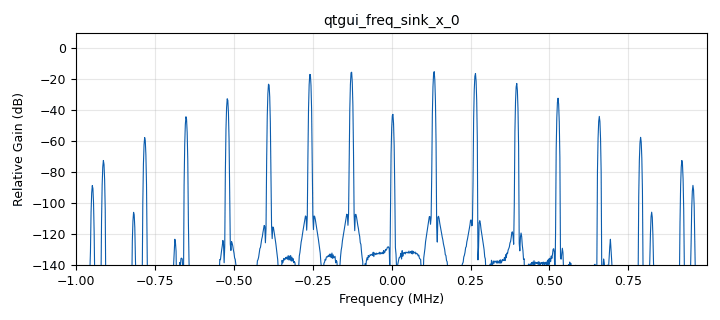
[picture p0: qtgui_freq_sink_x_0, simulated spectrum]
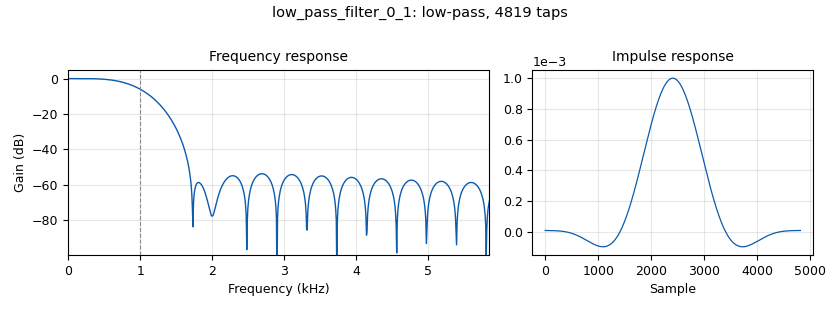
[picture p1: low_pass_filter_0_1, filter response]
<?xml version='1.0' encoding='utf-8'?>
<?grc format='1' created='3.7.13'?>
<flow_graph>
<block>
<key>options</key>
<param><key>id</key><value>top_block</value></param>
<param><key>generate_options</key><value>qt_gui</value></param>
</block>
<block>
<key>variable</key>
<param><key>id</key><value>decim</value></param>
<param><key>value</key><value>1024</value></param>
</block>
<block>
<key>variable_qtgui_range</key>
<param><key>id</key><value>f1</value></param>
<param><key>value</key><value>131001</value></param>
<param><key>orient</key><value>Qt.Horizontal</value></param>
<param><key>start</key><value>1</value></param>
<param><key>step</key><value>1000</value></param>
<param><key>stop</key><value>10000000</value></param>
</block>
<block>
<key>variable</key>
<param><key>id</key><value>fft_size</value></param>
<param><key>value</key><value>512</value></param>
</block>
<block>
<key>variable_qtgui_range</key>
<param><key>id</key><value>gain</value></param>
<param><key>value</key><value>62</value></param>
<param><key>label</key><value>Q</value></param>
<param><key>orient</key><value>Qt.Horizontal</value></param>
<param><key>start</key><value>0</value></param>
<param><key>step</key><value>1</value></param>
<param><key>stop</key><value>70</value></param>
</block>
<block>
<key>variable_qtgui_range</key>
<param><key>id</key><value>lo</value></param>
<param><key>value</key><value>2033000000</value></param>
<param><key>label</key><value>lo freq</value></param>
<param><key>orient</key><value>Qt.Horizontal</value></param>
<param><key>start</key><value>10000000</value></param>
<param><key>step</key><value>100000</value></param>
<param><key>stop</key><value>6000000000</value></param>
</block>
<block>
<key>variable_qtgui_range</key>
<param><key>id</key><value>noi</value></param>
<param><key>value</key><value>0</value></param>
<param><key>label</key><value>noi</value></param>
<param><key>min_len</key><value>2000</value></param>
<param><key>orient</key><value>Qt.Horizontal</value></param>
<param><key>start</key><value>0</value></param>
<param><key>step</key><value>1</value></param>
<param><key>stop</key><value>2000</value></param>
<param><key>rangeType</key><value>int</value></param>
</block>
<block>
<key>variable_qtgui_range</key>
<param><key>id</key><value>q</value></param>
<param><key>value</key><value>10000</value></param>
<param><key>label</key><value>Q</value></param>
<param><key>orient</key><value>Qt.Horizontal</value></param>
<param><key>start</key><value>10000</value></param>
<param><key>step</key><value>1</value></param>
<param><key>stop</key><value>10000000</value></param>
</block>
<block>
<key>variable</key>
<param><key>id</key><value>samp_rate</value></param>
<param><key>value</key><value>2000000</value></param>
</block>
<block>
<key>analog_agc_xx</key>
<param><key>id</key><value>analog_agc_xx_0</value></param>
<param><key>gain</key><value>1.0</value></param>
<param><key>max_gain</key><value>65536</value></param>
<param><key>rate</key><value>1e-4</value></param>
<param><key>reference</key><value>1.0</value></param>
<param><key>type</key><value>complex</value></param>
</block>
<block>
<key>analog_agc_xx</key>
<param><key>id</key><value>analog_agc_xx_0_0</value></param>
<param><key>gain</key><value>1.0</value></param>
<param><key>max_gain</key><value>65536</value></param>
<param><key>rate</key><value>1e-4</value></param>
<param><key>reference</key><value>1.0</value></param>
<param><key>type</key><value>complex</value></param>
</block>
<block>
<key>analog_sig_source_x</key>
<param><key>id</key><value>analog_sig_source_x_0_0</value></param>
<param><key>amp</key><value>1</value></param>
<param><key>freq</key><value>f1</value></param>
<param><key>offset</key><value>0.01</value></param>
<param><key>type</key><value>float</value></param>
<param><key>samp_rate</key><value>samp_rate</value></param>
<param><key>waveform</key><value>analog.GR_COS_WAVE</value></param>
</block>
<block>
<key>blocks_complex_to_mag</key>
<param><key>id</key><value>blocks_complex_to_mag_0_0</value></param>
<param><key>_enabled</key><value>0</value></param>
<param><key>vlen</key><value>fft_size</value></param>
</block>
<block>
<key>blocks_complex_to_magphase</key>
<param><key>id</key><value>blocks_complex_to_magphase_0</value></param>
</block>
<block>
<key>blocks_complex_to_real</key>
<param><key>id</key><value>blocks_complex_to_real_0</value></param>
<param><key>_enabled</key><value>0</value></param>
</block>
<block>
<key>blocks_complex_to_real</key>
<param><key>id</key><value>blocks_complex_to_real_0_0</value></param>
<param><key>_enabled</key><value>0</value></param>
</block>
<block>
<key>blocks_complex_to_real</key>
<param><key>id</key><value>blocks_complex_to_real_0_0_0</value></param>
<param><key>_enabled</key><value>0</value></param>
</block>
<block>
<key>blocks_delay</key>
<param><key>id</key><value>blocks_delay_0</value></param>
<param><key>delay</key><value>noi</value></param>
<param><key>_enabled</key><value>0</value></param>
<param><key>type</key><value>complex</value></param>
</block>
<block>
<key>blocks_multiply_conjugate_cc</key>
<param><key>id</key><value>blocks_multiply_conjugate_cc_0</value></param>
</block>
<block>
<key>blocks_stream_to_vector</key>
<param><key>id</key><value>blocks_stream_to_vector_0_1</value></param>
<param><key>_enabled</key><value>0</value></param>
<param><key>type</key><value>complex</value></param>
<param><key>num_items</key><value>fft_size</value></param>
</block>
<block>
<key>blocks_vco_c</key>
<param><key>id</key><value>blocks_vco_c_0_0</value></param>
<param><key>amplitude</key><value>1</value></param>
<param><key>samp_rate</key><value>samp_rate</value></param>
<param><key>sensitivity</key><value>samp_rate</value></param>
</block>
<block>
<key>blocks_vector_to_stream</key>
<param><key>id</key><value>blocks_vector_to_stream_0_0</value></param>
<param><key>_enabled</key><value>0</value></param>
<param><key>type</key><value>float</value></param>
<param><key>num_items</key><value>fft_size</value></param>
</block>
<block>
<key>fft_vxx</key>
<param><key>id</key><value>fft_vxx_0_0_0_1</value></param>
<param><key>_enabled</key><value>0</value></param>
<param><key>fft_size</key><value>fft_size</value></param>
<param><key>forward</key><value>True</value></param>
<param><key>type</key><value>complex</value></param>
<param><key>nthreads</key><value>8</value></param>
<param><key>shift</key><value>False</value></param>
<param><key>window</key><value>window.blackmanharris(fft_size)</value></param>
</block>
<block>
<key>high_pass_filter</key>
<param><key>id</key><value>high_pass_filter_0</value></param>
<param><key>cutoff_freq</key><value>1e3</value></param>
<param><key>decim</key><value>1</value></param>
<param><key>_enabled</key><value>0</value></param>
<param><key>type</key><value>fir_filter_ccf</value></param>
<param><key>gain</key><value>1</value></param>
<param><key>samp_rate</key><value>samp_rate</value></param>
<param><key>width</key><value>1e3</value></param>
<param><key>win</key><value>firdes.WIN_HAMMING</value></param>
</block>
<block>
<key>low_pass_filter</key>
<param><key>id</key><value>low_pass_filter_0</value></param>
<param><key>cutoff_freq</key><value>1e3</value></param>
<param><key>decim</key><value>decim</value></param>
<param><key>_enabled</key><value>0</value></param>
<param><key>type</key><value>fir_filter_ccf</value></param>
<param><key>gain</key><value>1</value></param>
<param><key>samp_rate</key><value>samp_rate</value></param>
<param><key>width</key><value>1e3</value></param>
<param><key>win</key><value>firdes.WIN_HAMMING</value></param>
</block>
<block>
<key>low_pass_filter</key>
<param><key>id</key><value>low_pass_filter_0_0</value></param>
<param><key>cutoff_freq</key><value>1e3</value></param>
<param><key>decim</key><value>decim</value></param>
<param><key>_enabled</key><value>2</value></param>
<param><key>type</key><value>fir_filter_ccf</value></param>
<param><key>gain</key><value>1</value></param>
<param><key>samp_rate</key><value>samp_rate</value></param>
<param><key>width</key><value>1e3</value></param>
<param><key>win</key><value>firdes.WIN_HAMMING</value></param>
</block>
<block>
<key>low_pass_filter</key>
<param><key>id</key><value>low_pass_filter_0_1</value></param>
<param><key>cutoff_freq</key><value>1e3</value></param>
<param><key>decim</key><value>decim</value></param>
<param><key>type</key><value>fir_filter_ccf</value></param>
<param><key>gain</key><value>1</value></param>
<param><key>samp_rate</key><value>samp_rate</value></param>
<param><key>width</key><value>1e3</value></param>
<param><key>win</key><value>firdes.WIN_HAMMING</value></param>
</block>
<block>
<key>pluto_sink</key>
<param><key>id</key><value>pluto_sink_0</value></param>
<param><key>attenuation</key><value>0</value></param>
<param><key>buffer_size</key><value>0x8000</value></param>
<param><key>cyclic</key><value>False</value></param>
<param><key>auto_filter</key><value>True</value></param>
<param><key>filter</key><value></value></param>
<param><key>uri</key><value>ip:pluto.local</value></param>
<param><key>frequency</key><value>lo</value></param>
<param><key>bandwidth</key><value>q</value></param>
<param><key>samplerate</key><value>samp_rate</value></param>
</block>
<block>
<key>pluto_source</key>
<param><key>id</key><value>pluto_source_0</value></param>
<param><key>bbdc</key><value>True</value></param>
<param><key>buffer_size</key><value>0x8000</value></param>
<param><key>uri</key><value>ip:pluto.local</value></param>
<param><key>auto_filter</key><value>True</value></param>
<param><key>filter</key><value></value></param>
<param><key>gain</key><value>"manual"</value></param>
<param><key>frequency</key><value>lo</value></param>
<param><key>manual_gain</key><value>gain</value></param>
<param><key>quadrature</key><value>False</value></param>
<param><key>rfdc</key><value>False</value></param>
<param><key>bandwidth</key><value>q</value></param>
<param><key>samplerate</key><value>samp_rate</value></param>
</block>
<block>
<key>qtgui_freq_sink_x</key>
<param><key>id</key><value>qtgui_freq_sink_x_0</value></param>
<param><key>bw</key><value>samp_rate</value></param>
<param><key>fc</key><value>0</value></param>
<param><key>fftsize</key><value>1024</value></param>
<param><key>showports</key><value>True</value></param>
<param><key>type</key><value>complex</value></param>
<param><key>update_time</key><value>0.00001</value></param>
<param><key>wintype</key><value>firdes.WIN_BLACKMAN_hARRIS</value></param>
</block>
<block>
<key>qtgui_histogram_sink_x</key>
<param><key>id</key><value>qtgui_histogram_sink_x_0</value></param>
<param><key>_enabled</key><value>0</value></param>
<param><key>xmax</key><value>1</value></param>
<param><key>xmin</key><value>-1</value></param>
<param><key>bins</key><value>100</value></param>
<param><key>size</key><value>1024</value></param>
<param><key>type</key><value>float</value></param>
</block>
<block>
<key>qtgui_number_sink</key>
<param><key>id</key><value>qtgui_number_sink_0</value></param>
<param><key>autoscale</key><value>True</value></param>
<param><key>_enabled</key><value>0</value></param>
<param><key>graph_type</key><value>qtgui.NUM_GRAPH_VERT</value></param>
<param><key>type</key><value>float</value></param>
<param><key>max</key><value>5000</value></param>
<param><key>min</key><value>0</value></param>
<param><key>update_time</key><value>0.01</value></param>
</block>
<block>
<key>qtgui_sink_x</key>
<param><key>id</key><value>qtgui_sink_x_0</value></param>
<param><key>bw</key><value>samp_rate</value></param>
<param><key>fc</key><value>lo</value></param>
<param><key>freqchangevar</key><value>None</value></param>
<param><key>_enabled</key><value>0</value></param>
<param><key>fftsize</key><value>1024</value></param>
<param><key>name</key><value>"TX"</value></param>
<param><key>showrf</key><value>True</value></param>
<param><key>type</key><value>complex</value></param>
<param><key>wintype</key><value>firdes.WIN_BLACKMAN_hARRIS</value></param>
</block>
<block>
<key>qtgui_time_raster_sink_x</key>
<param><key>id</key><value>qtgui_time_raster_sink_x_0_0</value></param>
<param><key>_enabled</key><value>0</value></param>
<param><key>name</key><value>"Mag"</value></param>
<param><key>ncols</key><value>fft_size</value></param>
<param><key>nrows</key><value>19</value></param>
<param><key>samp_rate</key><value>samp_rate</value></param>
<param><key>type</key><value>float</value></param>
</block>
<block>
<key>qtgui_time_sink_x</key>
<param><key>id</key><value>qtgui_time_sink_x_0</value></param>
<param><key>_enabled</key><value>0</value></param>
<param><key>color1</key><value>"blue"</value></param>
<param><key>label1</key><value></value></param>
<param><key>color2</key><value>"red"</value></param>
<param><key>label2</key><value></value></param>
<param><key>nconnections</key><value>2</value></param>
<param><key>size</key><value>1024</value></param>
<param><key>srate</key><value>samp_rate</value></param>
<param><key>tr_mode</key><value>qtgui.TRIG_MODE_AUTO</value></param>
<param><key>type</key><value>float</value></param>
</block>
<block>
<key>qtgui_time_sink_x</key>
<param><key>id</key><value>qtgui_time_sink_x_0_0</value></param>
<param><key>_enabled</key><value>0</value></param>
<param><key>color1</key><value>"blue"</value></param>
<param><key>label1</key><value></value></param>
<param><key>size</key><value>1024</value></param>
<param><key>srate</key><value>samp_rate</value></param>
<param><key>tr_mode</key><value>qtgui.TRIG_MODE_AUTO</value></param>
<param><key>type</key><value>float</value></param>
<param><key>ylabel</key><value>Beat Frequency</value></param>
</block>
<block>
<key>qtgui_waterfall_sink_x</key>
<param><key>id</key><value>qtgui_waterfall_sink_x_0</value></param>
<param><key>bw</key><value>samp_rate/decim</value></param>
<param><key>fc</key><value>lo</value></param>
<param><key>_enabled</key><value>0</value></param>
<param><key>fftsize</key><value>fft_size</value></param>
<param><key>showports</key><value>True</value></param>
<param><key>type</key><value>complex</value></param>
<param><key>wintype</key><value>firdes.WIN_BLACKMAN_hARRIS</value></param>
</block>
<block>
<key>qtgui_waterfall_sink_x</key>
<param><key>id</key><value>qtgui_waterfall_sink_x_0_0</value></param>
<param><key>bw</key><value>samp_rate</value></param>
<param><key>fc</key><value>0</value></param>
<param><key>_enabled</key><value>0</value></param>
<param><key>fftsize</key><value>2048</value></param>
<param><key>showports</key><value>True</value></param>
<param><key>type</key><value>complex</value></param>
<param><key>wintype</key><value>firdes.WIN_BLACKMAN_hARRIS</value></param>
</block>
<block>
<key>qtgui_waterfall_sink_x</key>
<param><key>id</key><value>qtgui_waterfall_sink_x_0_1</value></param>
<param><key>bw</key><value>samp_rate/decim</value></param>
<param><key>fc</key><value>0</value></param>
<param><key>fftsize</key><value>fft_size</value></param>
<param><key>name</key><value>"Left of trace for away right of trace for towards"</value></param>
<param><key>showports</key><value>True</value></param>
<param><key>type</key><value>float</value></param>
<param><key>wintype</key><value>firdes.WIN_BLACKMAN_hARRIS</value></param>
</block>
<block>
<key>qtgui_waterfall_sink_x</key>
<param><key>id</key><value>qtgui_waterfall_sink_x_0_1_0</value></param>
<param><key>bw</key><value>samp_rate/decim</value></param>
<param><key>fc</key><value>0</value></param>
<param><key>fftsize</key><value>fft_size</value></param>
<param><key>name</key><value>"Left of trace for away right of trace for towards"</value></param>
<param><key>showports</key><value>True</value></param>
<param><key>type</key><value>float</value></param>
<param><key>wintype</key><value>firdes.WIN_BLACKMAN_hARRIS</value></param>
</block>
<connection><source_block_id>analog_agc_xx_0</source_block_id><sink_block_id>blocks_complex_to_real_0</sink_block_id><source_key>0</source_key><sink_key>0</sink_key></connection>
<connection><source_block_id>analog_agc_xx_0</source_block_id><sink_block_id>blocks_multiply_conjugate_cc_0</sink_block_id><source_key>0</source_key><sink_key>0</sink_key></connection>
<connection><source_block_id>analog_agc_xx_0_0</source_block_id><sink_block_id>blocks_multiply_conjugate_cc_0</sink_block_id><source_key>0</source_key><sink_key>1</sink_key></connection>
<connection><source_block_id>analog_sig_source_x_0_0</source_block_id><sink_block_id>blocks_vco_c_0_0</sink_block_id><source_key>0</source_key><sink_key>0</sink_key></connection>
<connection><source_block_id>blocks_complex_to_mag_0_0</source_block_id><sink_block_id>blocks_vector_to_stream_0_0</sink_block_id><source_key>0</source_key><sink_key>0</sink_key></connection>
<connection><source_block_id>blocks_complex_to_magphase_0</source_block_id><sink_block_id>qtgui_waterfall_sink_x_0_1_0</sink_block_id><source_key>0</source_key><sink_key>0</sink_key></connection>
<connection><source_block_id>blocks_complex_to_magphase_0</source_block_id><sink_block_id>qtgui_waterfall_sink_x_0_1</sink_block_id><source_key>1</source_key><sink_key>0</sink_key></connection>
<connection><source_block_id>blocks_complex_to_real_0</source_block_id><sink_block_id>qtgui_time_sink_x_0</sink_block_id><source_key>0</source_key><sink_key>0</sink_key></connection>
<connection><source_block_id>blocks_complex_to_real_0_0</source_block_id><sink_block_id>qtgui_time_sink_x_0</sink_block_id><source_key>0</source_key><sink_key>1</sink_key></connection>
<connection><source_block_id>blocks_complex_to_real_0_0_0</source_block_id><sink_block_id>qtgui_time_sink_x_0_0</sink_block_id><source_key>0</source_key><sink_key>0</sink_key></connection>
<connection><source_block_id>blocks_delay_0</source_block_id><sink_block_id>analog_agc_xx_0_0</sink_block_id><source_key>0</source_key><sink_key>0</sink_key></connection>
<connection><source_block_id>blocks_multiply_conjugate_cc_0</source_block_id><sink_block_id>blocks_complex_to_real_0_0_0</sink_block_id><source_key>0</source_key><sink_key>0</sink_key></connection>
<connection><source_block_id>blocks_multiply_conjugate_cc_0</source_block_id><sink_block_id>blocks_stream_to_vector_0_1</sink_block_id><source_key>0</source_key><sink_key>0</sink_key></connection>
<connection><source_block_id>blocks_multiply_conjugate_cc_0</source_block_id><sink_block_id>high_pass_filter_0</sink_block_id><source_key>0</source_key><sink_key>0</sink_key></connection>
<connection><source_block_id>blocks_multiply_conjugate_cc_0</source_block_id><sink_block_id>low_pass_filter_0</sink_block_id><source_key>0</source_key><sink_key>0</sink_key></connection>
<connection><source_block_id>blocks_multiply_conjugate_cc_0</source_block_id><sink_block_id>low_pass_filter_0_1</sink_block_id><source_key>0</source_key><sink_key>0</sink_key></connection>
<connection><source_block_id>blocks_stream_to_vector_0_1</source_block_id><sink_block_id>fft_vxx_0_0_0_1</sink_block_id><source_key>0</source_key><sink_key>0</sink_key></connection>
<connection><source_block_id>blocks_vco_c_0_0</source_block_id><sink_block_id>analog_agc_xx_0</sink_block_id><source_key>0</source_key><sink_key>0</sink_key></connection>
<connection><source_block_id>blocks_vco_c_0_0</source_block_id><sink_block_id>blocks_delay_0</sink_block_id><source_key>0</source_key><sink_key>0</sink_key></connection>
<connection><source_block_id>blocks_vco_c_0_0</source_block_id><sink_block_id>low_pass_filter_0_0</sink_block_id><source_key>0</source_key><sink_key>0</sink_key></connection>
<connection><source_block_id>blocks_vco_c_0_0</source_block_id><sink_block_id>qtgui_freq_sink_x_0</sink_block_id><source_key>0</source_key><sink_key>0</sink_key></connection>
<connection><source_block_id>blocks_vco_c_0_0</source_block_id><sink_block_id>qtgui_sink_x_0</sink_block_id><source_key>0</source_key><sink_key>0</sink_key></connection>
<connection><source_block_id>blocks_vector_to_stream_0_0</source_block_id><sink_block_id>qtgui_histogram_sink_x_0</sink_block_id><source_key>0</source_key><sink_key>0</sink_key></connection>
<connection><source_block_id>blocks_vector_to_stream_0_0</source_block_id><sink_block_id>qtgui_number_sink_0</sink_block_id><source_key>0</source_key><sink_key>0</sink_key></connection>
<connection><source_block_id>blocks_vector_to_stream_0_0</source_block_id><sink_block_id>qtgui_time_raster_sink_x_0_0</sink_block_id><source_key>0</source_key><sink_key>0</sink_key></connection>
<connection><source_block_id>fft_vxx_0_0_0_1</source_block_id><sink_block_id>blocks_complex_to_mag_0_0</sink_block_id><source_key>0</source_key><sink_key>0</sink_key></connection>
<connection><source_block_id>low_pass_filter_0</source_block_id><sink_block_id>qtgui_waterfall_sink_x_0</sink_block_id><source_key>0</source_key><sink_key>0</sink_key></connection>
<connection><source_block_id>low_pass_filter_0</source_block_id><sink_block_id>qtgui_waterfall_sink_x_0_0</sink_block_id><source_key>0</source_key><sink_key>0</sink_key></connection>
<connection><source_block_id>low_pass_filter_0_0</source_block_id><sink_block_id>pluto_sink_0</sink_block_id><source_key>0</source_key><sink_key>0</sink_key></connection>
<connection><source_block_id>low_pass_filter_0_1</source_block_id><sink_block_id>blocks_complex_to_magphase_0</sink_block_id><source_key>0</source_key><sink_key>0</sink_key></connection>
<connection><source_block_id>pluto_source_0</source_block_id><sink_block_id>analog_agc_xx_0_0</sink_block_id><source_key>0</source_key><sink_key>0</sink_key></connection>
</flow_graph>
